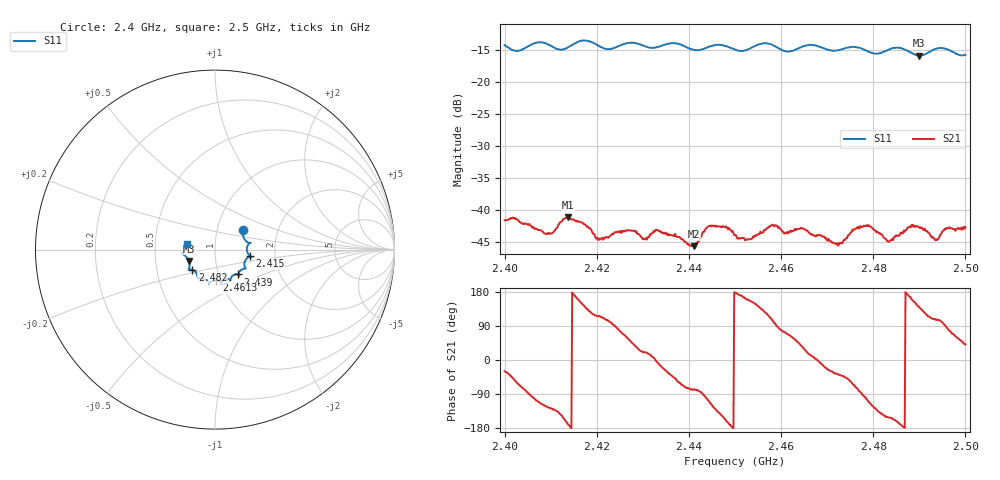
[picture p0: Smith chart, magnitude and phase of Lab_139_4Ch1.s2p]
# Hz S RI R 50
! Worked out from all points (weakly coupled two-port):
!   601 points, 2.4 GHz to 2.5 GHz, reference 50 ohm
!   highest |S21| = -41.19 dB at 2.4138 GHz (marker M1); lowest = -45.7 dB at 2.441 GHz (marker M2)
!   lowest |S11| = -15.9 dB at 2.49 GHz (marker M3), VSWR 1.38, Z = 37 - j4.8 ohm
!   |S11| at or under -10 dB: start of sweep to end of sweep
!   S12 and S22 are empty: the file has one direction only
!   S11 on the Smith chart (normalised r, x): 2.4 GHz: 1.33, +0.31; 2.415 GHz: 1.47, -0.11; 2.439 GHz: 1.24, -0.36; 2.4613 GHz: 0.96, -0.34; 2.482 GHz: 0.76, -0.18; 2.5 GHz: 0.73, +0.05
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2.4e9  0.1564 0.1119  0.00715 -0.0041  0 0  0 0
2.4095e9  0.1913 0.0354  -0.00373 -0.00525  0 0  0 0
2.413833e9  0.1842 -0.0224  -0.00861 -0.00139  0 0  0 0
2.415e9  0.1934 -0.0353  -0.0083 0.00106  0 0  0 0
2.416667e9  0.2042 -0.0422  -0.00688 0.00397  0 0  0 0
2.420333e9  0.1859 -0.0436  -0.00248 0.00521  0 0  0 0
2.433333e9  0.1324 -0.1318  0.00679 -0.00104  0 0  0 0
2.439e9  0.1284 -0.1387  0.0019 -0.0053  0 0  0 0
2.441e9  0.1092 -0.139  0.000999 -0.00508  0 0  0 0
2.4445e9  0.085 -0.1672  -0.00269 -0.00698  0 0  0 0
2.45e9  0.069 -0.1635  -0.0063 0.000304  0 0  0 0
2.453167e9  0.0382 -0.1765  -0.00539 0.00232  0 0  0 0
2.458333e9  0.038 -0.1879  -0.00154 0.00736  0 0  0 0
2.461333e9  0.0076 -0.1711  0.00244 0.00623  0 0  0 0
2.466667e9  -0.0336 -0.1904  0.00624 0.00114  0 0  0 0
2.472833e9  -0.0759 -0.16  0.00413 -0.00353  0 0  0 0
2.4785e9  -0.0989 -0.1435  -0.00166 -0.00724  0 0  0 0
2.482e9  -0.1265 -0.1122  -0.00505 -0.00375  0 0  0 0
2.483333e9  -0.1397 -0.1098  -0.00494 -0.00265  0 0  0 0
2.49e9  -0.1465 -0.0633  -0.00553 0.00469  0 0  0 0
2.493667e9  -0.1789 -0.0246  -0.00174 0.00559  0 0  0 0
2.5e9  -0.1583 0.0331  0.00549 0.00476  0 0  0 0
